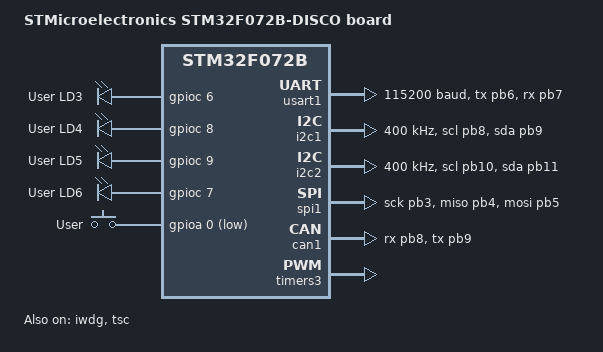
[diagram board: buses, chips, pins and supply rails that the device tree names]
/*
 * Copyright (c) 2017 Clage GmbH
 *
 * SPDX-License-Identifier: Apache-2.0
 */

/dts-v1/;
#include <st/f0/stm32f072Xb.dtsi>
#include <st/f0/stm32f072r(8-b)tx-pinctrl.dtsi>
#include <zephyr/dt-bindings/input/input-event-codes.h>
#include <zephyr/dt-bindings/input/stm32-tsc-defines.h>

/ {
	model = "STMicroelectronics STM32F072B-DISCO board";
	compatible = "st,stm32f072b-disco";

	chosen {
		zephyr,console = &usart1;
		zephyr,shell-uart = &usart1;
		zephyr,sram = &sram0;
		zephyr,flash = &flash0;
		zephyr,canbus = &can1;
	};

	leds {
		compatible = "gpio-leds";

		red_up_led_3: led_3 {
			gpios = <&gpioc 6 GPIO_ACTIVE_HIGH>;
			label = "User LD3";
		};

		yellow_left_4: led_4 {
			gpios = <&gpioc 8 GPIO_ACTIVE_HIGH>;
			label = "User LD4";
		};

		green_right_led_5: led_5 {
			gpios = <&gpioc 9 GPIO_ACTIVE_HIGH>;
			label = "User LD5";
		};

		blue_low_led_6: led_6 {
			gpios = <&gpioc 7 GPIO_ACTIVE_HIGH>;
			label = "User LD6";
		};
	};

	gpio_keys {
		compatible = "gpio-keys";

		user_button: button {
			label = "User";
			gpios = <&gpioa 0 GPIO_ACTIVE_LOW>;
			zephyr,code = <INPUT_KEY_0>;
		};
	};

	pwmleds: pwmleds {
		compatible = "pwm-leds";
		/* NOTE: disabled by default; TIM3_CH1 shares LD3 pin PC6 */
		status = "disabled";

		red_pwm_led: red_pwm_led {
			pwms = <&pwm3 1 PWM_MSEC(20) PWM_POLARITY_NORMAL>;
		};
	};

	aliases {
		led0 = &red_up_led_3;
		led1 = &yellow_left_4;
		led2 = &green_right_led_5;
		led3 = &blue_low_led_6;
		pwm-led0 = &red_pwm_led;
		sw0 = &user_button;
		watchdog0 = &iwdg;
	};
};

&clk_hsi {
	status = "okay";
};

&pll {
	prediv = <1>;
	mul = <6>;
	clocks = <&clk_hsi>;
	status = "okay";
};

&rcc {
	clocks = <&pll>;
	clock-frequency = <DT_FREQ_M(48)>;
	ahb-prescaler = <1>;
	apb1-prescaler = <1>;
};

&usart1 {
	pinctrl-0 = <&usart1_tx_pb6 &usart1_rx_pb7>;
	pinctrl-names = "default";
	current-speed = <115200>;
	status = "okay";
};

&i2c1 {
	pinctrl-0 = <&i2c1_scl_pb8 &i2c1_sda_pb9>;
	pinctrl-names = "default";
	status = "okay";
	clock-frequency = <I2C_BITRATE_FAST>;
};

&i2c2 {
	pinctrl-0 = <&i2c2_scl_pb10 &i2c2_sda_pb11>;
	pinctrl-names = "default";
	status = "okay";
	clock-frequency = <I2C_BITRATE_FAST>;
};

&spi1 {
	pinctrl-0 = <&spi1_sck_pb3 &spi1_miso_pb4 &spi1_mosi_pb5>;
	pinctrl-names = "default";
	status = "okay";
};

&can1 {
	pinctrl-0 = <&can_rx_pb8 &can_tx_pb9>;
	pinctrl-names = "default";
	status = "okay";
};

&iwdg {
	status = "okay";
};

&timers3 {
	st,prescaler = <10000>;
	status = "okay";

	pwm3: pwm {
		status = "okay";
		pinctrl-0 = <&tim3_ch1_pc6>;
		pinctrl-names = "default";
	};
};

&tsc {
	status = "okay";
	pinctrl-0 = <&tsc_g1_io3_pa2 &tsc_g1_io4_pa3 &tsc_g2_io3_pa6 &tsc_g2_io4_pa7 &tsc_g3_io2_pb0
		     &tsc_g3_io3_pb1>;
	pinctrl-names = "default";

	st,pulse-generator-prescaler = <2>;
	st,charge-transfer-pulse-high = <2>;
	st,charge-transfer-pulse-low = <2>;
	st,spread-spectrum;
	st,spread-spectrum-prescaler = <2>;
	st,spread-spectrum-deviation = <100>;
	st,max-count-value = <8191>;

	tsc_group1: g1 {
		group = <1>;
		channel-ios = <TSC_IO3>;
		sampling-io = <TSC_IO4>;

		ts2 {
			compatible = "tsc-keys";
			sampling-interval-ms = <10>;
			oversampling = <10>;
			noise-threshold = <50>;
			sticky-key-timeout-ms = <10000>;
			zephyr,code = <INPUT_KEY_2>;
		};
	};

	tsc_group2: g2 {
		group = <2>;
		channel-ios = <TSC_IO3>;
		sampling-io = <TSC_IO4>;

		ts0 {
			compatible = "tsc-keys";
			sampling-interval-ms = <10>;
			oversampling = <10>;
			noise-threshold = <50>;
			sticky-key-timeout-ms = <10000>;
			zephyr,code = <INPUT_KEY_0>;
		};
	};

	tsc_group3: g3 {
		group = <3>;
		channel-ios = <TSC_IO2>;
		sampling-io = <TSC_IO3>;

		ts1 {
			compatible = "tsc-keys";
			sampling-interval-ms = <10>;
			oversampling = <10>;
			noise-threshold = <50>;
			sticky-key-timeout-ms = <10000>;
			zephyr,code = <INPUT_KEY_1>;
		};
	};
};
